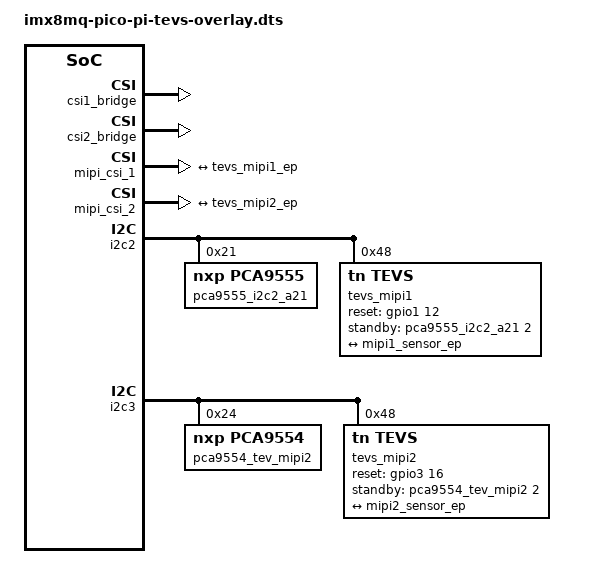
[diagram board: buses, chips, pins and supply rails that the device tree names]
// SPDX-License-Identifier: (GPL-2.0+ OR MIT)
/*
 * Copyright 2024 TechNexion Ltd.
 *
 * Author: Nian Yang <nian.yang@technexion.com>
 *
 */

/dts-v1/;
/plugin/;

#include "../imx8mq-pinfunc.h"
#include <dt-bindings/clock/imx8mq-clock.h>
#include <dt-bindings/interrupt-controller/irq.h>
#include <dt-bindings/input/input.h>
#include <dt-bindings/gpio/gpio.h>

/ {

	fragment@0 {
		target = <&csi1_bridge>;
		__overlay__ {
			fsl,two-8bit-sensor-mode;
			status = "okay";
		};
	};

	fragment@1 {
		target = <&csi2_bridge>;
		__overlay__ {
			fsl,two-8bit-sensor-mode;
			status = "okay";
		};
	};

	fragment@2 {
		target = <&mipi_csi_1>;
		__overlay__ {
			status = "okay";
			#address-cells = <1>;
			#size-cells = <0>;

			port {
				mipi1_sensor_ep: endpoint@0 {
					remote-endpoint = <&tevs_mipi1_ep>;
					data-lanes = <1 2 3 4>;
					bus-type = <4>;
					csis-wclk;
				};
			};
		};
	};

	fragment@3 {
		target = <&mipi_csi_2>;
		__overlay__ {
			status = "okay";
			#address-cells = <1>;
			#size-cells = <0>;

			port {
				mipi2_sensor_ep: endpoint@0 {
					remote-endpoint = <&tevs_mipi2_ep>;
					data-lanes = <1 2 3 4>;
					bus-type = <4>;
					csis-wclk;
				};
			};
		};
	};

	fragment@4 {
		target = <&i2c2>;
		__overlay__ {
			#address-cells = <1>;
			#size-cells = <0>;
			status = "okay";

			pca9555_i2c2_a21: pca9555@21 {
				compatible = "nxp,pca9555";
				reg = <0x21>;
				gpio-controller;
				#gpio-cells = <2>;
				status = "okay";
				gpio-line-names = "EXPOSURE_TRIG_IN1", "FLASH_OUT1", "INFO_TRIG_IN1", "CAM_SHUTTER1", "XVS1", "PWR1_TIME0", "PWR1_TIME1", "PWR1_TIME2",
									"EXPOSURE_TRIG_IN2", "FLASH_OUT2", "INFO_TRIG_IN2", "CAM_SHUTTER2", "XVS2", "PWR2_TIME0", "PWR2_TIME1", "PWR2_TIME2";
			};

			tevs_mipi1: tevs_mipi@48 {
				compatible = "tn,tevs";
				reg = <0x48>;
				status = "okay";
				pinctrl-names = "default";
				pinctrl-0 = <&pinctrl_csi1>;

				csi_id = <0>;
				reset-gpios = <&gpio1 12 GPIO_ACTIVE_HIGH>;
				standby-gpios = <&pca9555_i2c2_a21 2 GPIO_ACTIVE_HIGH>;

				data-lanes = <4>;
				data-frequency = <800>;
				continuous-clock = <0>;
				supports-over-4k-res;

				port {
					tevs_mipi1_ep: endpoint {
						remote-endpoint = <&mipi1_sensor_ep>;
					};
				};
			};
		};
	};

	fragment@5 {
		target = <&i2c3>;
		__overlay__ {
			#address-cells = <1>;
			#size-cells = <0>;
			status = "okay";

			/* PCA9554 on camera tev_mipi board */
			pca9554_tev_mipi2: pca9554_tev_mipi@24 {
				compatible = "nxp,pca9554";
				reg =<0x24>;
				gpio-controller;
				#gpio-cells = <2>;
			};

			tevs_mipi2: tevs_mipi2@48 {
				compatible = "tn,tevs";
				reg = <0x48>;
				status = "okay";
				pinctrl-names = "default";
				pinctrl-0 = <&pinctrl_csi2>;

				csi_id = <1>;
				reset-gpios = <&gpio3 16 GPIO_ACTIVE_HIGH>;
				standby-gpios = <&pca9554_tev_mipi2 2 GPIO_ACTIVE_HIGH>;

				data-lanes = <4>;
				data-frequency = <800>;
				continuous-clock = <0>;
				supports-over-4k-res;

				port {
					tevs_mipi2_ep: endpoint {
						remote-endpoint = <&mipi2_sensor_ep>;
					};
				};
			};
		};
	};
};
